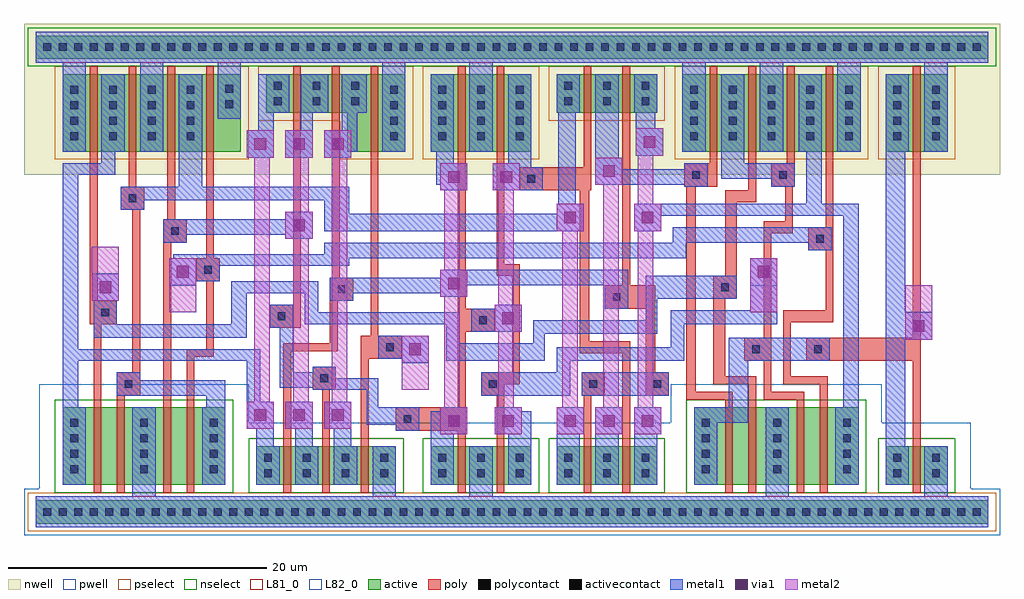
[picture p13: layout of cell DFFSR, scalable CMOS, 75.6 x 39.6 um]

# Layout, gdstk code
import gdstk
lib = gdstk.Library(unit=1e-6, precision=1e-09)
def R(c, l, rs):  # rectangles x0, y0, x1, y1
    for r in rs: c.add(gdstk.rectangle(r[:2], r[2:], *l))
def A(c, l, x, y, w, h, nx, ny, dx, dy):  # array of equal rectangles
    R(c, l, [(x+i*dx, y+j*dy, x+i*dx+w, y+j*dy+h) for i in range(nx) for j in range(ny)])
pwell = (41, 0)
nwell = (42, 0)
active = (43, 0)
pselect = (44, 0)
nselect = (45, 0)
poly = (46, 0)
polycontact = (47, 0)
activecontact = (48, 0)
metal1 = (49, 0)
via1 = (50, 0)
metal2 = (51, 0)
L81_0 = (81, 0)
L82_0 = (82, 0)

dffsr = lib.new_cell('DFFSR')
R(dffsr, pwell, [(-1.8,-1.8,73.8,1.8), (-0.6,1.8,71.55,6.9), (-0.6,6.9,15.6,9.9), (48.3,6.9,64.65,9.9)])
R(dffsr, nwell, [(-1.8,26.1,73.8,37.8)])
R(dffsr, active, [(-0.9,-0.9,72.9,0.9), (1.2,2.1,13.8,8.1), (16.2,2.1,27,5.1), (29.7,2.1,37.5,5.1), (39.45,2.1,47.25,5.1), (50.1,2.1,62.85,8.1), (64.95,2.1,69.75,5.1), (1.2,27.9,15,33.9), (23.25,27.9,27.75,30.9), (29.7,27.9,37.5,33.9), (49.2,27.9,63,33.9), (64.95,27.9,69.75,33.9), (16.95,30.9,27.75,33.9), (39.45,30.9,47.25,33.9), (-0.9,35.1,72.9,36.9)])
R(dffsr, pselect, [(-1.5,-1.5,73.5,1.5), (0.6,27.3,15.6,34.5), (22.65,27.3,28.35,30.3), (29.1,27.3,38.1,34.5), (48.6,27.3,63.6,34.5), (64.35,27.3,70.35,34.5), (16.35,30.3,28.35,34.5), (38.85,30.3,47.85,34.5)])
R(dffsr, nselect, [(0.6,1.5,14.4,8.7), (15.6,1.5,27.6,5.7), (29.1,1.5,38.1,5.7), (38.85,1.5,47.85,5.7), (49.5,1.5,63.45,8.7), (64.35,1.5,70.35,5.7), (-1.5,34.5,73.5,37.5)])
R(dffsr, poly, [(3.6,1.5,4.2,14.55), (5.4,1.5,6,9), (9,1.5,9.6,20.85), (10.8,1.5,11.4,12), (18.3,1.5,18.9,12.45), (21.3,1.5,21.9,9.45), (24.3,1.5,24.9,11.85), (31.8,1.5,32.4,6.3), (34.8,1.5,35.4,9), (41.55,1.5,42.15,9), (44.55,1.5,45.15,12.3), (52.5,1.5,53.1,8.7), (54.3,1.5,54.9,9.9), (58.05,1.5,58.65,8.7), (59.85,1.5,60.45,9.9), (67.05,1.5,67.65,11.7), (27,6.3,32.4,8.1), (31.8,8.1,32.4,13.95), (49.5,8.7,53.1,9.3), (55.5,8.7,58.65,9.3), (5.4,9,7.2,10.8), (33.6,9,35.4,9.9), (41.4,9,43.2,10.8), (46.35,9,48.15,10.8), (49.5,9.3,50.25,25.2), (55.5,9.3,56.1,11.7), (20.55,9.45,22.35,11.25), (33.6,9.9,36.6,10.8), (51.6,9.9,54.9,10.5), (57,9.9,60.45,10.5), (51.6,10.5,52.5,16.5), (57,10.5,57.6,14.7), (6.6,10.8,7.2,23.4), (36,10.8,36.6,18.3), (46.35,10.8,47.1,15.75), (54,11.7,56.1,13.5), (58.8,11.7,67.65,13.5), (24.3,11.85,27.45,13.65), (10.8,12,12.9,12.6), (41.25,12.3,45.15,13.2), (18.3,12.45,22.5,13.05), (12.3,12.6,12.9,17.85), (21.9,13.05,22.5,16.35), (41.25,13.2,42,24.9), (55.5,13.5,56.1,21.6), (67.05,13.5,67.65,34.5), (25.05,13.65,25.65,34.5), (31.8,13.95,34.65,15.75), (17.25,14.25,19.65,16.05), (3.3,14.55,5.4,16.35), (57,14.7,60.9,15.6), (60.3,15.6,60.9,20.25), (31.8,15.75,32.4,34.5), (43.2,15.75,47.1,17.55), (19.05,16.05,19.65,34.5), (3.3,16.35,3.9,34.5), (21.9,16.35,23.7,18.15), (51.6,16.5,53.4,18.3), (44.55,17.55,45.15,34.5), (11.55,17.85,13.35,19.65), (22.05,18.15,22.65,34.5), (34.8,18.3,36.6,19.2), (52.5,18.3,53.4,24), (34.8,19.2,35.4,34.5), (12.3,19.65,12.9,34.5), (58.95,20.25,60.9,22.05), (9,20.85,10.8,22.65), (55.5,21.6,57.75,22.5), (60.3,22.05,60.9,34.5), (57.15,22.5,57.75,25.2), (9.3,22.65,9.9,34.5), (5.7,23.4,7.5,25.2), (52.5,24,54.9,24.9), (36.6,24.9,42.15,26.7), (54.3,24.9,54.9,34.5), (6.3,25.2,6.9,34.5), (49.35,25.2,51.9,27), (56.1,25.2,57.9,27), (41.55,26.7,42.15,34.5), (51.3,27,51.9,34.5), (57.3,27,57.9,34.5)])
R(dffsr, polycontact, [(27.6,6.9,28.2,7.5), (6,9.6,6.6,10.2), (34.2,9.6,34.8,10.2), (42,9.6,42.6,10.2), (46.95,9.6,47.55,10.2), (21.15,10.05,21.75,10.65), (54.6,12.3,55.2,12.9), (59.4,12.3,60,12.9), (26.25,12.45,26.85,13.05), (33.45,14.55,34.05,15.15), (17.85,14.85,18.45,15.45), (4.2,15.15,4.8,15.75), (43.8,16.35,44.4,16.95), (22.5,16.95,23.1,17.55), (52.2,17.1,52.8,17.7), (12.15,18.45,12.75,19.05), (59.55,20.85,60.15,21.45), (9.6,21.45,10.2,22.05), (6.3,24,6.9,24.6), (37.2,25.5,37.8,26.1), (49.95,25.8,50.55,26.4), (56.7,25.8,57.3,26.4)])
A(dffsr, activecontact, -0.3, -0.3, 0.6, 0.6, 61, 2, 1.2, 36)
A(dffsr, activecontact, 16.8, 2.7, 0.6, 0.6, 4, 2, 3, 1.2)
A(dffsr, activecontact, 30.3, 2.7, 0.6, 0.6, 3, 2, 3, 1.2)
A(dffsr, activecontact, 40.05, 2.7, 0.6, 0.6, 3, 2, 3, 1.2)
A(dffsr, activecontact, 1.8, 3, 0.6, 0.6, 3, 4, 5.4, 1.2)
A(dffsr, activecontact, 50.7, 3, 0.6, 0.6, 1, 4, 0, 1.2)
A(dffsr, activecontact, 56.25, 3, 0.6, 0.6, 1, 4, 0, 1.2)
A(dffsr, activecontact, 61.65, 3, 0.6, 0.6, 1, 4, 0, 1.2)
A(dffsr, activecontact, 1.8, 28.8, 0.6, 0.6, 4, 4, 3, 1.2)
A(dffsr, activecontact, 26.55, 28.8, 0.6, 0.6, 1, 4, 0, 1.2)
A(dffsr, activecontact, 30.3, 28.8, 0.6, 0.6, 3, 4, 3, 1.2)
A(dffsr, activecontact, 49.8, 28.8, 0.6, 0.6, 5, 4, 3, 1.2)
A(dffsr, activecontact, 65.55, 28.8, 0.6, 0.6, 1, 4, 0, 1.2)
A(dffsr, activecontact, 68.55, 28.8, 0.6, 0.6, 1, 4, 0, 1.2)
A(dffsr, activecontact, 17.55, 31.5, 0.6, 0.6, 3, 2, 3, 1.2)
A(dffsr, activecontact, 40.05, 31.5, 0.6, 0.6, 3, 2, 3, 1.2)
R(dffsr, activecontact, [(65.55,2.7,66.15,3.3), (68.55,2.7,69.15,3.3), (65.55,3.9,66.15,4.5), (68.55,3.9,69.15,4.5), (13.8,31.27,14.4,31.87), (13.8,32.47,14.4,33.07)])
A(dffsr, metal1, 16.2, 2.1, 1.8, 3, 3, 1, 3, 0)
A(dffsr, metal1, 39.45, 2.1, 1.8, 3.9, 3, 1, 3, 0)
A(dffsr, metal1, 16.2, 5.1, 1.35, 1.35, 3, 1, 3, 0)
A(dffsr, metal1, 39.45, 6, 2.1, 2.1, 3, 1, 3, 0)
A(dffsr, metal1, 15.45, 6.45, 2.1, 2.1, 3, 1, 3, 0)
A(dffsr, metal1, 49.2, 27.9, 1.8, 6.9, 3, 1, 6, 0)
R(dffsr, metal1, [(-0.9,-1.2,72.9,1.2), (6.6,1.2,8.4,8.1), (25.2,1.2,27,5.1), (32.7,1.2,34.5,5.1), (55.65,1.2,57.45,8.1), (67.95,1.2,69.75,5.1), (1.2,2.1,3,8.1), (12,2.1,13.8,8.1), (29.7,2.1,31.5,6), (35.7,2.1,37.5,6), (50.1,2.1,51.9,6.9), (61.05,2.1,62.85,8.1), (64.95,2.1,66.75,5.1), (64.95,5.1,66.45,13.35), (29.7,6,32.55,7.8), (34.65,6,37.5,7.8), (27,6.3,28.8,6.75), (24.75,6.75,28.8,8.1), (50.1,6.9,54.3,8.1), (30.45,7.8,32.55,8.1), (34.65,7.8,36.75,8.1), (1.2,8.1,2.4,11.7), (12.3,8.1,13.8,9), (24.75,8.1,25.65,9.45), (52.8,8.1,54.3,11.7), (61.65,8.1,62.85,22.95), (15.45,8.55,16.5,11.7), (5.4,9,13.8,10.2), (33.6,9,40.5,10.8), (41.4,9,48.15,10.8), (20.55,9.45,25.65,9.6), (18,9.6,25.65,10.35), (5.4,10.2,7.2,10.8), (18,10.35,22.35,10.8), (18,10.8,19.05,14.25), (20.55,10.8,22.35,11.25), (39.45,10.8,40.5,11.7), (27.45,11.55,29.55,11.85), (1.2,11.7,16.5,12.6), (30.9,11.7,38.55,13.05), (39.45,11.7,49.35,12.75), (52.8,11.7,60.6,13.5), (25.65,11.85,29.55,13.65), (1.2,12.6,2.4,26.1), (48.3,12.75,49.35,14.55), (30.9,13.05,31.95,14.55), (37.65,13.05,38.55,13.8), (64.95,13.35,68.55,15.45), (3.6,13.5,15.45,14.55), (37.65,13.8,47.25,14.85), (32.85,13.95,36.75,15.75), (17.25,14.25,19.05,16.05), (3.6,14.55,5.4,16.35), (14.25,14.55,15.45,16.95), (19.95,14.55,31.95,15.45), (48.3,14.55,56.55,15.6), (46.35,14.85,47.25,16.5), (19.95,15.45,21,16.95), (64.95,15.45,66.45,27.9), (54.45,15.6,56.55,19.65), (34.65,15.75,36.75,16.05), (43.2,15.75,45,17.55), (3.45,16.35,5.55,18.45), (21.9,16.35,23.7,16.95), (46.35,16.5,53.4,18.3), (30.45,16.65,32.55,16.95), (14.25,16.95,21,17.85), (21.9,16.95,32.55,17.55), (9.45,17.55,11.55,17.85), (21.9,17.55,45,18.15), (9.45,17.85,13.35,19.05), (30.45,18.15,45,18.75), (9.45,19.05,23.4,19.65), (9.75,19.65,49.5,19.95), (21.45,19.95,49.5,20.85), (58.95,20.25,60.75,20.85), (9,20.85,10.8,21.45), (48.45,20.85,60.75,22.05), (18.45,21.15,20.55,21.45), (9,21.45,20.55,22.65), (21.45,21.75,41.55,23.1), (45.45,21.75,47.55,22.95), (18.45,22.65,20.55,23.25), (45.45,22.95,62.85,23.85), (21.45,23.1,23.4,24.15), (39.45,23.1,41.55,23.85), (5.7,23.4,7.5,24.15), (39.6,23.85,40.95,30.9), (58.8,23.85,60,27.9), (5.7,24.15,23.4,25.2), (30.45,24.9,32.55,25.35), (34.5,24.9,38.4,26.7), (10.2,25.2,12,33.9), (49.35,25.2,51.15,25.35), (56.1,25.2,57.9,25.8), (30.15,25.35,32.55,27), (42.45,25.35,51.15,26.55), (52.2,25.8,57.9,27), (1.2,26.1,5.25,27), (42.45,26.55,44.55,27.45), (49.35,26.55,51.15,27), (34.5,26.7,37.5,27), (4.2,27,5.25,27.9), (30.15,27,31.5,27.9), (35.7,27,37.5,33.9), (52.2,27,54,33.9), (15.45,27.45,17.55,29.55), (18.45,27.45,20.55,29.55), (21.45,27.45,23.55,27.9), (42.45,27.45,44.25,33.9), (45.6,27.6,47.7,29.7), (1.2,27.9,3,34.8), (4.2,27.9,6,33.9), (7.2,27.9,9,34.8), (21.45,27.9,24,29.55), (25.95,27.9,27.75,34.8), (29.7,27.9,31.5,33.9), (32.7,27.9,34.5,34.8), (58.2,27.9,60,33.9), (64.95,27.9,66.75,33.9), (67.95,27.9,69.75,34.8), (16.35,29.55,17.55,30.9), (19.65,29.55,20.55,30.9), (22.8,29.55,24,30.9), (45.6,29.7,47.1,30.9), (13.2,30.45,15,34.8), (16.35,30.9,18.75,33.9), (19.65,30.9,21.75,33.9), (22.8,30.9,24.75,33.9), (39.45,30.9,41.25,33.9), (45.45,30.9,47.25,33.9), (-0.9,34.8,72.9,37.2)])
A(dffsr, via1, 40.05, 6.6, 0.9, 0.9, 3, 1, 3, 0)
A(dffsr, via1, 16.05, 7.05, 0.9, 0.9, 3, 2, 3, 21)
R(dffsr, via1, [(31.05,6.6,31.95,7.5), (35.25,6.6,36.15,7.5), (28.05,12.15,28.95,13.05), (67.05,13.95,67.95,14.85), (35.25,14.55,36.15,15.45), (4.05,16.95,4.95,17.85), (31.05,17.25,31.95,18.15), (10.05,18.15,10.95,19.05), (55.05,18.15,55.95,19.05), (19.05,21.75,19.95,22.65), (40.05,22.35,40.95,23.25), (46.05,22.35,46.95,23.25), (31.05,25.5,31.95,26.4), (35.1,25.5,36,26.4), (43.05,25.95,43.95,26.85), (46.2,28.2,47.1,29.1)])
A(dffsr, metal2, 39.45, 6, 2.1, 2.1, 3, 1, 3, 0)
A(dffsr, metal2, 15.45, 6.45, 2.1, 2.1, 3, 2, 3, 21)
R(dffsr, metal2, [(30.45,6,32.55,8.1), (34.65,6,36.75,8.1), (30.75,8.1,31.95,16.65), (34.95,8.1,36.15,13.95), (39.9,8.1,41.1,21.75), (43.05,8.1,44.25,25.35), (45.75,8.1,46.95,21.75), (16.05,8.55,17.25,27.45), (19.05,8.55,20.25,21.15), (22.05,8.55,23.25,27.45), (27.45,9.45,29.55,13.65), (66.45,13.35,68.55,17.55), (34.65,13.95,36.75,16.05), (9.45,15.45,11.55,19.65), (54.45,15.45,56.55,19.65), (34.95,16.05,36.15,24.9), (3.45,16.35,5.55,20.55), (30.45,16.65,32.55,18.75), (30.75,18.75,31.95,24.9), (18.45,21.15,20.55,23.25), (39.45,21.75,41.55,23.85), (45.45,21.75,47.55,23.85), (19.05,23.25,20.25,27.45), (45.75,23.85,46.95,27.6), (30.45,24.9,32.55,27), (34.5,24.9,36.6,27), (42.45,25.35,44.55,27.45), (45.6,27.6,47.7,29.7)])
R(dffsr, L81_0, [(-0.9,-1.2,72.9,1.2), (-0.9,34.8,72.9,37.2)])
R(dffsr, L82_0, [(27.45,9.45,29.55,11.55), (9.45,15.45,11.55,17.55), (54.45,15.45,56.55,17.55), (66.45,15.45,68.55,17.55), (3.45,18.45,5.55,20.55)])

lib.write_gds('DFFSR.gds')
